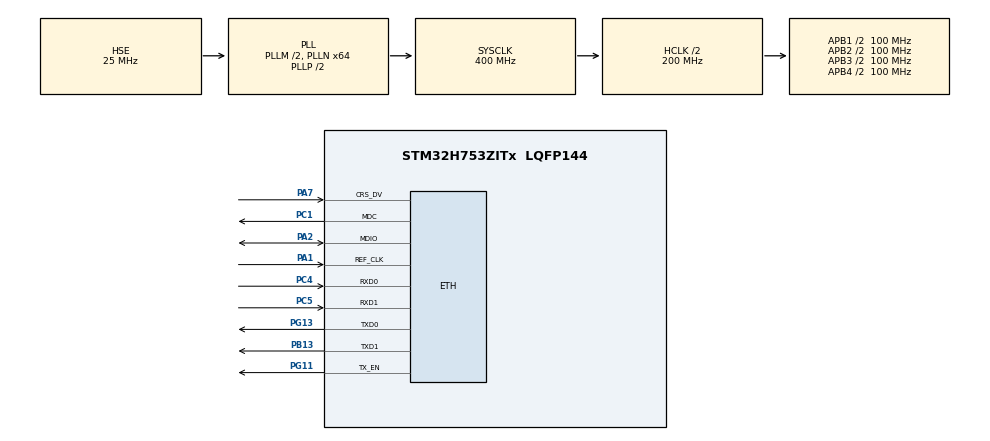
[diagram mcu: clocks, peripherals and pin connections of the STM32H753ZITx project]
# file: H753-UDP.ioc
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CORTEX_M7.AccessPermission_S-Cortex_Memory_Protection_Unit_Region1_Settings_S=MPU_REGION_FULL_ACCESS
CORTEX_M7.BaseAddress_S-Cortex_Memory_Protection_Unit_Region1_Settings_S=0x30000000
CORTEX_M7.CPU_DCache=Enabled
CORTEX_M7.CPU_ICache=Enabled
CORTEX_M7.DisableExec_S-Cortex_Memory_Protection_Unit_Region1_Settings_S=MPU_INSTRUCTION_ACCESS_DISABLE
CORTEX_M7.Enable_S-Cortex_Memory_Protection_Unit_Region1_Settings_S=MPU_REGION_ENABLE
CORTEX_M7.IsShareable_S-Cortex_Memory_Protection_Unit_Region1_Settings_S=MPU_ACCESS_SHAREABLE
CORTEX_M7.MPU_Control=MPU_PRIVILEGED_DEFAULT
CORTEX_M7.Size_S-Cortex_Memory_Protection_Unit_Region1_Settings_S=MPU_REGION_SIZE_128KB
CORTEX_M7.TypeExtField_S-Cortex_Memory_Protection_Unit_Region1_Settings_S=MPU_TEX_LEVEL1
CORTEX_M7.default_mode_Activation=1
ETH.ETH_RX_DESC_CNT=4
ETH.ETH_TX_DESC_CNT=4
ETH.MediaInterface=HAL_ETH_RMII_MODE
ETH.RxBuffLen=1536
ETH.RxBufferAddress=0x30000100
ETH.RxDescAddress=0x30000000
ETH.TxDescAddress=0x30000080
Mcu.Family=STM32H7
Mcu.Name=STM32H753ZITx
Mcu.Package=LQFP144
NVIC.ETH_IRQn=true\:0\:0\:false\:false\:true\:true\:true\:true
NVIC.PriorityGroup=NVIC_PRIORITYGROUP_4
PA1.Mode=RMII
PA1.Signal=ETH_REF_CLK
PA2.Mode=RMII
PA2.Signal=ETH_MDIO
PA7.Mode=RMII
PA7.Signal=ETH_CRS_DV
PB13.Mode=RMII
PB13.Signal=ETH_TXD1
PC1.Mode=RMII
PC1.Signal=ETH_MDC
PC14-OSC32_IN\ (OSC32_IN).Signal=RCC_OSC32_IN
PC15-OSC32_OUT\ (OSC32_OUT).Signal=RCC_OSC32_OUT
PC4.Mode=RMII
PC4.Signal=ETH_RXD0
PC5.Mode=RMII
PC5.Signal=ETH_RXD1
PD8.GPIO_Label=STLINK_RX
PD8.Signal=USART3_TX
PD9.GPIO_Label=STLINK_TX
PD9.Signal=USART3_RX
PG11.Mode=RMII
PG11.Signal=ETH_TX_EN
PG13.Mode=RMII
PG13.Signal=ETH_TXD0
PH0-OSC_IN\ (PH0).Mode=HSE-External-Oscillator
PH0-OSC_IN\ (PH0).Signal=RCC_OSC_IN
PH1-OSC_OUT\ (PH1).Mode=HSE-External-Oscillator
PH1-OSC_OUT\ (PH1).Signal=RCC_OSC_OUT
ProjectManager.HeapSize=0x200
ProjectManager.StackSize=0x400
ProjectManager.TargetToolchain=STM32CubeIDE
RCC.ADCFreq_Value=50390625
RCC.APB1Freq_Value=100000000
RCC.APB2Freq_Value=100000000
RCC.APB3Freq_Value=100000000
RCC.APB4Freq_Value=100000000
RCC.CortexFreq_Value=400000000
RCC.D1PPRE=RCC_APB3_DIV2
RCC.D2PPRE1=RCC_APB1_DIV2
RCC.D2PPRE2=RCC_APB2_DIV2
RCC.D3PPRE=RCC_APB4_DIV2
RCC.DIVM1=2
RCC.DIVN1=64
RCC.DIVQ1=4
RCC.HCLKFreq_Value=200000000
RCC.HPRE=RCC_HCLK_DIV2
RCC.HSE_VALUE=25000000
RCC.PLLFRACN=0
RCC.PLLSourceVirtual=RCC_PLLSOURCE_HSE
RCC.PWR_Regulator_Voltage_Scale=PWR_REGULATOR_VOLTAGE_SCALE1
RCC.SYSCLKFreq_VALUE=400000000
RCC.SYSCLKSource=RCC_SYSCLKSOURCE_PLLCLK
RCC.USBFreq_Value=200000000
VP_MEMORYMAP_VS_MEMORYMAP.Mode=CurAppReg
board=NUCLEO-H753ZI

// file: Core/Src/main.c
/* USER CODE BEGIN Header */
/**
  ******************************************************************************
  * @file           : main.c
  * @brief          : Main program body
  ******************************************************************************
  * @attention
  *
  * Copyright (c) 2026 STMicroelectronics.
  * All rights reserved.
  *
  * This software is licensed under terms that can be found in the LICENSE file
  * in the root directory of this software component.
  * If no LICENSE file comes with this software, it is provided AS-IS.
  *
  ******************************************************************************
  */
/* USER CODE END Header */
#include "main.h"
#include "string.h"

/* USER CODE BEGIN Includes */
#include "testip.h"
#include "stdio.h"
/* USER CODE END Includes */

#if defined ( __ICCARM__ ) /*!< IAR Compiler */
#pragma location=0x30000000
ETH_DMADescTypeDef  DMARxDscrTab[ETH_RX_DESC_CNT]; /* Ethernet Rx DMA Descriptors */
#pragma location=0x30000080
ETH_DMADescTypeDef  DMATxDscrTab[ETH_TX_DESC_CNT]; /* Ethernet Tx DMA Descriptors */

#elif defined ( __CC_ARM )  /* MDK ARM Compiler */

__attribute__((at(0x30000000))) ETH_DMADescTypeDef  DMARxDscrTab[ETH_RX_DESC_CNT]; /* Ethernet Rx DMA Descriptors */
__attribute__((at(0x30000080))) ETH_DMADescTypeDef  DMATxDscrTab[ETH_TX_DESC_CNT]; /* Ethernet Tx DMA Descriptors */

#elif defined ( __GNUC__ ) /* GNU Compiler */

ETH_DMADescTypeDef DMARxDscrTab[ETH_RX_DESC_CNT] __attribute__((section(".RxDescripSection"))); /* Ethernet Rx DMA Descriptors */
ETH_DMADescTypeDef DMATxDscrTab[ETH_TX_DESC_CNT] __attribute__((section(".TxDescripSection")));   /* Ethernet Tx DMA Descriptors */
#endif

ETH_TxPacketConfig TxConfig;

ETH_HandleTypeDef heth;

void SystemClock_Config(void);
static void MPU_Config(void);
static void MX_GPIO_Init(void);
static void MX_ETH_Init(void);

/* USER CODE BEGIN 0 */
uint32_t counterRx = 0;
uint32_t counterTx = 0;
NetAddr ethNetAddr;
/* USER CODE END 0 */

int main(void)
{

  /* USER CODE BEGIN 1 */
  int wait = 10000000;
  while (wait-- >0);
  /* USER CODE END 1 */

  /* MPU Configuration--------------------------------------------------------*/
  MPU_Config();

  /* Enable the CPU Cache */

  /* Enable I-Cache---------------------------------------------------------*/
  SCB_EnableICache();

  /* Enable D-Cache---------------------------------------------------------*/
  SCB_EnableDCache();

  /* MCU Configuration--------------------------------------------------------*/

  /* Reset of all peripherals, Initializes the Flash interface and the Systick. */
  HAL_Init();

  /* USER CODE BEGIN Init */
  HAL_Delay(1000);
  /* USER CODE END Init */

  /* Configure the system clock */
  SystemClock_Config();

  /* Initialize all configured peripherals */
  MX_GPIO_Init();
  MX_ETH_Init();
  /* USER CODE BEGIN 2 */
  HAL_Delay(1000);

  CoreDebug->DEMCR |= CoreDebug_DEMCR_TRCENA_Msk;
  DWT->CYCCNT = 0;
  DWT->CTRL |= DWT_CTRL_CYCCNTENA_Msk;

  ethNetAddr.mac[0] = 0x04;
  ethNetAddr.mac[1] = 0x7C;
  ethNetAddr.mac[2] = 0x16;
  ethNetAddr.mac[3] = 0x00;
  ethNetAddr.mac[4] = 0x6C;
  ethNetAddr.mac[5] = 0xE5;
  ethNetAddr.ip = MAKE_IPV4_ADDR(192, 168, 0, 111);
  ethNetAddr.port = 2;

  uint32_t lastPingTick = HAL_GetTick();

  TESTIP_Init();

  // char buf[128] = "hello\n";

  /* USER CODE END 2 */

  /* Infinite loop */
  while (1)
  {

    /* USER CODE BEGIN 3 */
	  TESTIP_Process();

	  if ((HAL_GetTick() - lastPingTick) > 1000) {
		  TESTIP_Ping(&ethNetAddr);
		  lastPingTick = HAL_GetTick();
	  }

	/*

	int len = snprintf(buf, sizeof(buf), "%lu - %lu\n", counterTx, counterRx);
	TESTIP_SendUDPPacket(&netAddr, (uint8_t*)buf, len);
	counterTx++;

	*/
  }
  /* USER CODE END 3 */
}

void SystemClock_Config(void)
{
  RCC_OscInitTypeDef RCC_OscInitStruct = {0};
  RCC_ClkInitTypeDef RCC_ClkInitStruct = {0};

  /** Supply configuration update enable
  */
  HAL_PWREx_ConfigSupply(PWR_LDO_SUPPLY);

  /** Configure the main internal regulator output voltage
  */
  __HAL_PWR_VOLTAGESCALING_CONFIG(PWR_REGULATOR_VOLTAGE_SCALE1);

  while(!__HAL_PWR_GET_FLAG(PWR_FLAG_VOSRDY)) {}

  /** Initializes the RCC Oscillators according to the specified parameters
  * in the RCC_OscInitTypeDef structure.
  */
  RCC_OscInitStruct.OscillatorType = RCC_OSCILLATORTYPE_HSE;
  RCC_OscInitStruct.HSEState = RCC_HSE_ON;
  RCC_OscInitStruct.PLL.PLLState = RCC_PLL_ON;
  RCC_OscInitStruct.PLL.PLLSource = RCC_PLLSOURCE_HSE;
  RCC_OscInitStruct.PLL.PLLM = 2;
  RCC_OscInitStruct.PLL.PLLN = 64;
  RCC_OscInitStruct.PLL.PLLP = 2;
  RCC_OscInitStruct.PLL.PLLQ = 4;
  RCC_OscInitStruct.PLL.PLLR = 2;
  RCC_OscInitStruct.PLL.PLLRGE = RCC_PLL1VCIRANGE_3;
  RCC_OscInitStruct.PLL.PLLVCOSEL = RCC_PLL1VCOWIDE;
  RCC_OscInitStruct.PLL.PLLFRACN = 0;
  if (HAL_RCC_OscConfig(&RCC_OscInitStruct) != HAL_OK)
  {
    Error_Handler();
  }

  /** Initializes the CPU, AHB and APB buses clocks
  */
  RCC_ClkInitStruct.ClockType = RCC_CLOCKTYPE_HCLK|RCC_CLOCKTYPE_SYSCLK
                              |RCC_CLOCKTYPE_PCLK1|RCC_CLOCKTYPE_PCLK2
                              |RCC_CLOCKTYPE_D3PCLK1|RCC_CLOCKTYPE_D1PCLK1;
  RCC_ClkInitStruct.SYSCLKSource = RCC_SYSCLKSOURCE_PLLCLK;
  RCC_ClkInitStruct.SYSCLKDivider = RCC_SYSCLK_DIV1;
  RCC_ClkInitStruct.AHBCLKDivider = RCC_HCLK_DIV2;
  RCC_ClkInitStruct.APB3CLKDivider = RCC_APB3_DIV2;
  RCC_ClkInitStruct.APB1CLKDivider = RCC_APB1_DIV2;
  RCC_ClkInitStruct.APB2CLKDivider = RCC_APB2_DIV2;
  RCC_ClkInitStruct.APB4CLKDivider = RCC_APB4_DIV2;

  if (HAL_RCC_ClockConfig(&RCC_ClkInitStruct, FLASH_LATENCY_2) != HAL_OK)
  {
    Error_Handler();
  }
}

static void MX_ETH_Init(void)
{

   static uint8_t MACAddr[6];

  heth.Instance = ETH;
  MACAddr[0] = 0x00;
  MACAddr[1] = 0x80;
  MACAddr[2] = 0xE1;
  MACAddr[3] = 0x00;
  MACAddr[4] = 0x00;
  MACAddr[5] = 0x00;
  heth.Init.MACAddr = &MACAddr[0];
  heth.Init.MediaInterface = HAL_ETH_RMII_MODE;
  heth.Init.TxDesc = DMATxDscrTab;
  heth.Init.RxDesc = DMARxDscrTab;
  heth.Init.RxBuffLen = 1536;

  if (HAL_ETH_Init(&heth) != HAL_OK)
  {
    Error_Handler();
  }

  memset(&TxConfig, 0 , sizeof(ETH_TxPacketConfig));
  TxConfig.Attributes = ETH_TX_PACKETS_FEATURES_CSUM | ETH_TX_PACKETS_FEATURES_CRCPAD;
  TxConfig.ChecksumCtrl = ETH_CHECKSUM_IPHDR_PAYLOAD_INSERT_PHDR_CALC;
  TxConfig.CRCPadCtrl = ETH_CRC_PAD_INSERT;

}

static void MX_GPIO_Init(void)
{
  GPIO_InitTypeDef GPIO_InitStruct = {0};

  /* GPIO Ports Clock Enable */
  __HAL_RCC_GPIOC_CLK_ENABLE();
  __HAL_RCC_GPIOH_CLK_ENABLE();
  __HAL_RCC_GPIOA_CLK_ENABLE();
  __HAL_RCC_GPIOB_CLK_ENABLE();
  __HAL_RCC_GPIOD_CLK_ENABLE();
  __HAL_RCC_GPIOG_CLK_ENABLE();

  /*Configure GPIO pins : STLINK_RX_Pin STLINK_TX_Pin */
  GPIO_InitStruct.Pin = STLINK_RX_Pin|STLINK_TX_Pin;
  GPIO_InitStruct.Mode = GPIO_MODE_AF_PP;
  GPIO_InitStruct.Pull = GPIO_NOPULL;
  GPIO_InitStruct.Speed = GPIO_SPEED_FREQ_LOW;
  GPIO_InitStruct.Alternate = GPIO_AF7_USART3;
  HAL_GPIO_Init(GPIOD, &GPIO_InitStruct);

}

/* USER CODE BEGIN 4 */
void TESTIP_UDP_RxCpltCallback(NetAddr *netAddr, uint8_t *payload, uint16_t len) {
	char* buf = (char*)TESTIP_GetDataPtr();
	uint16_t bufMaxLen = 128;
	int strLen = snprintf(buf, bufMaxLen, "Message received: %.*s\n", len, (char*)payload);

	if (strLen == 0) {
		return; // Problems have occurred...
	}

	uint16_t rxLen = (strLen >= bufMaxLen) ? (bufMaxLen - 1) : (uint16_t)strLen;
	TESTIP_SendUDPPacket(netAddr, rxLen);
}

void TESTIP_PingCallback(uint32_t ip, PingStatus status, uint32_t rtt_ms) {
	char* buf = (char*)TESTIP_GetDataPtr();
	uint16_t bufMaxLen = 128;
	int len = snprintf(buf, bufMaxLen, "Ping RTT: %lu\n", rtt_ms);

	if (len == 0) {
		return;
	}

	TESTIP_SendUDPPacket(&ethNetAddr, len);
}
/* USER CODE END 4 */

 /* MPU Configuration */

void MPU_Config(void)
{
  MPU_Region_InitTypeDef MPU_InitStruct = {0};

  /* Disables the MPU */
  HAL_MPU_Disable();

  /** Initializes and configures the Region and the memory to be protected
  */
  MPU_InitStruct.Enable = MPU_REGION_ENABLE;
  MPU_InitStruct.Number = MPU_REGION_NUMBER0;
  MPU_InitStruct.BaseAddress = 0x0;
  MPU_InitStruct.Size = MPU_REGION_SIZE_4GB;
  MPU_InitStruct.SubRegionDisable = 0x87;
  MPU_InitStruct.TypeExtField = MPU_TEX_LEVEL0;
  MPU_InitStruct.AccessPermission = MPU_REGION_NO_ACCESS;
  MPU_InitStruct.DisableExec = MPU_INSTRUCTION_ACCESS_DISABLE;
  MPU_InitStruct.IsShareable = MPU_ACCESS_SHAREABLE;
  MPU_InitStruct.IsCacheable = MPU_ACCESS_NOT_CACHEABLE;
  MPU_InitStruct.IsBufferable = MPU_ACCESS_NOT_BUFFERABLE;

  HAL_MPU_ConfigRegion(&MPU_InitStruct);

  /** Initializes and configures the Region and the memory to be protected
  */
  MPU_InitStruct.Number = MPU_REGION_NUMBER1;
  MPU_InitStruct.BaseAddress = 0x30000000;
  MPU_InitStruct.Size = MPU_REGION_SIZE_128KB;
  MPU_InitStruct.SubRegionDisable = 0x0;
  MPU_InitStruct.TypeExtField = MPU_TEX_LEVEL1;
  MPU_InitStruct.AccessPermission = MPU_REGION_FULL_ACCESS;

  HAL_MPU_ConfigRegion(&MPU_InitStruct);
  /* Enables the MPU */
  HAL_MPU_Enable(MPU_PRIVILEGED_DEFAULT);

}

void Error_Handler(void)
{
  __disable_irq();
  while (1)
  {
  }
}
